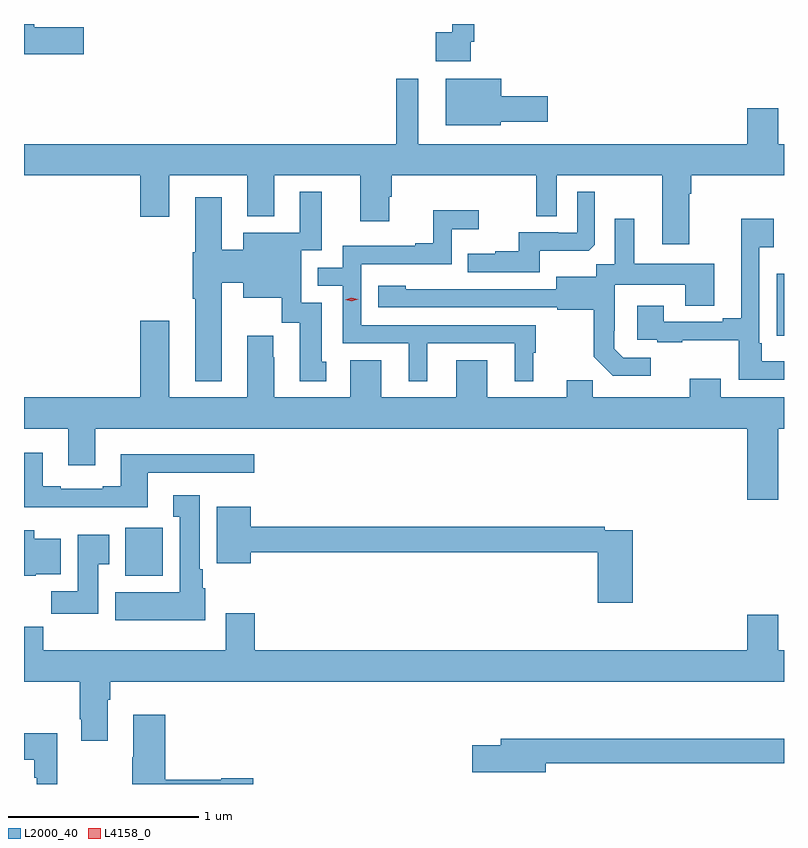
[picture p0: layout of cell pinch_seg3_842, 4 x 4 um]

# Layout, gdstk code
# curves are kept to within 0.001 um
import gdstk
lib = gdstk.Library(unit=1e-6, precision=1e-09)
def R(c, l, rs):  # rectangles x0, y0, x1, y1
    for r in rs: c.add(gdstk.rectangle(r[:2], r[2:], *l))
def P(c, l, *ps):  # polygons
    for p in ps: c.add(gdstk.Polygon(p, *l))
L2000_40 = (2000, 40)
L4158_0 = (4158, 0)

pinch_seg3_842 = lib.new_cell('pinch_seg3_842')
R(pinch_seg3_842, L2000_40, [(725.171,745.43,725.367,745.681), (728.598,746.693,728.637,747.019)])
P(pinch_seg3_842, L2000_40, [(726.987,748.24),(727.007,748.24),(727.007,748.333),(726.89,748.333),(726.89,748.289),(726.804,748.289),(726.804,748.136),(726.987,748.136)],
  [(724.951,748.316),(724.69,748.316),(724.69,748.333),(724.637,748.333),(724.637,748.174),(724.951,748.174)],
  [(727.146,747.818),(727.393,747.818),(727.393,747.953),(727.15,747.953),(727.15,748.045),(726.857,748.045),(726.857,747.8),(727.146,747.8)],
  [(728.137,747.44),(728.15,747.44),(728.15,747.536),(728.637,747.536),(728.637,747.7),(728.608,747.7),(728.608,747.889),(728.444,747.889),(728.444,747.7),(726.712,747.7),(726.712,748.045),(726.595,748.045),(726.595,747.7),(724.637,747.7),(724.637,747.536),(725.249,747.536),(725.249,747.318),(725.401,747.318),(725.401,747.536),(725.813,747.536),(725.813,747.32),(725.953,747.32),(725.953,747.536),(726.407,747.536),(726.407,747.294),(726.559,747.294),(726.559,747.423),(726.572,747.423),(726.572,747.536),(727.332,747.536),(727.332,747.322),(727.44,747.322),(727.44,747.536),(727.997,747.536),(727.997,747.174),(728.137,747.174)],
  [(727.351,747.14),(727.609,747.14),(727.641,747.171),(727.641,747.451),(727.548,747.451),(727.548,747.234),(727.448,747.234),(727.448,747.237),(727.241,747.237),(727.241,747.136),(727.117,747.136),(727.117,747.124),(726.973,747.124),(726.973,747.027),(727.351,747.027)],
  [(725.677,746.972),(725.792,746.972),(725.792,746.891),(725.993,746.891),(725.993,746.76),(726.089,746.76),(726.089,746.454),(726.229,746.454),(726.229,746.556),(726.205,746.556),(726.205,746.865),(726.096,746.865),(726.096,747.141),(726.205,747.141),(726.205,747.451),(726.089,747.451),(726.089,747.235),(725.792,747.235),(725.792,747.144),(725.677,747.144),(725.677,747.421),(725.537,747.421),(725.537,747.132),(725.525,747.132),(725.525,746.888),(725.537,746.888),(725.537,746.453),(725.677,746.453)],
  [(726.76,746.652),(727.22,746.652),(727.22,746.453),(727.318,746.453),(727.318,746.604),(727.33,746.604),(727.33,746.748),(726.411,746.748),(726.411,747.069),(726.888,747.069),(726.888,747.254),(727.03,747.254),(727.03,747.353),(726.79,747.353),(726.79,747.178),(726.695,747.178),(726.695,747.165),(726.315,747.165),(726.315,747.051),(726.182,747.051),(726.182,746.955),(726.315,746.955),(726.315,746.652),(726.662,746.652),(726.662,746.453),(726.76,746.453)],
  [(728.637,746.557),(728.521,746.557),(728.521,746.653),(728.508,746.653),(728.508,747.158),(728.584,747.158),(728.584,747.307),(728.411,747.307),(728.411,746.785),(728.315,746.785),(728.315,746.766),(728.005,746.766),(728.005,746.851),(727.865,746.851),(727.865,746.67),(727.969,746.67),(727.969,746.658),(728.101,746.658),(728.101,746.669),(728.4,746.669),(728.4,746.46),(728.637,746.46)],
  [(727.936,746.577),(727.791,746.577),(727.744,746.624),(727.744,746.719),(727.746,746.719),(727.746,746.96),(728.117,746.96),(728.117,746.851),(728.269,746.851),(728.269,747.07),(727.849,747.07),(727.849,747.307),(727.745,747.307),(727.745,747.068),(727.65,747.068),(727.65,747.004),(727.439,747.004),(727.439,746.937),(726.645,746.938),(726.645,746.956),(726.501,746.956),(726.501,746.841),(727.443,746.841),(727.443,746.829),(727.635,746.829),(727.635,746.583),(727.735,746.483),(727.936,746.483)],
  [(728.608,746.204),(728.637,746.204),(728.637,746.368),(728.305,746.368),(728.305,746.467),(728.141,746.467),(728.141,746.368),(727.631,746.368),(727.631,746.459),(727.493,746.459),(727.493,746.368),(727.075,746.368),(727.075,746.563),(726.911,746.563),(726.911,746.368),(726.517,746.368),(726.517,746.563),(726.353,746.563),(726.353,746.368),(725.953,746.368),(725.953,746.579),(725.95,746.579),(725.95,746.692),(725.813,746.692),(725.813,746.368),(725.401,746.368),(725.401,746.77),(725.249,746.77),(725.249,746.368),(724.637,746.368),(724.637,746.204),(724.871,746.204),(724.871,746.01),(725.011,746.01),(725.011,746.204),(728.444,746.204),(728.444,745.83),(728.608,745.83)],
  [(725.287,745.971),(725.848,745.971),(725.848,746.068),(725.147,746.068),(725.147,745.9),(725.051,745.9),(725.051,745.887),(724.831,745.887),(724.831,745.9),(724.735,745.9),(724.735,746.077),(724.637,746.077),(724.637,745.79),(725.287,745.79)],
  [(725.59,745.362),(725.578,745.362),(725.578,745.462),(725.563,745.462),(725.563,745.852),(725.423,745.852),(725.423,745.739),(725.456,745.739),(725.456,745.342),(725.117,745.342),(725.117,745.196),(725.59,745.196)],
  [(727.841,745.668),(727.694,745.668),(727.694,745.688),(725.83,745.688),(725.83,745.792),(725.651,745.792),(725.651,745.496),(725.83,745.496),(725.83,745.552),(727.658,745.552),(727.658,745.287),(727.841,745.287)],
  [(724.698,745.436),(724.831,745.436),(724.831,745.624),(724.69,745.624),(724.69,745.668),(724.637,745.668),(724.637,745.43),(724.698,745.43)],
  [(725.029,745.489),(725.086,745.489),(725.086,745.645),(724.919,745.645),(724.919,745.348),(724.78,745.348),(724.78,745.23),(725.029,745.23)],
  [(725.077,744.776),(725.09,744.776),(725.09,744.872),(728.637,744.872),(728.637,745.036),(728.608,745.036),(728.608,745.225),(728.444,745.225),(728.444,745.036),(725.852,745.036),(725.852,745.231),(725.699,745.231),(725.699,745.036),(724.739,745.036),(724.739,745.16),(724.637,745.16),(724.637,744.872),(724.93,744.872),(724.93,744.673),(724.937,744.673),(724.937,744.561),(725.077,744.561)],
  [(725.843,744.364),(725.676,744.364),(725.676,744.356),(725.381,744.356),(725.381,744.697),(725.213,744.697),(725.213,744.473),(725.206,744.473),(725.206,744.333),(725.843,744.333)],
  [(724.813,744.601),(724.637,744.601),(724.637,744.461),(724.692,744.461),(724.692,744.365),(724.704,744.365),(724.704,744.333),(724.813,744.333)],
  [(727.384,744.442),(728.637,744.442),(728.637,744.571),(727.145,744.571),(727.145,744.537),(726.996,744.537),(726.996,744.395),(727.384,744.395)])
P(pinch_seg3_842, L4158_0, [(726.361,746.873),(726.327,746.881),(726.326,746.881),(726.327,746.881),(726.36,746.893),(726.395,746.885),(726.396,746.885),(726.395,746.885)])

lib.write_gds('pinch_seg3_842.gds')
